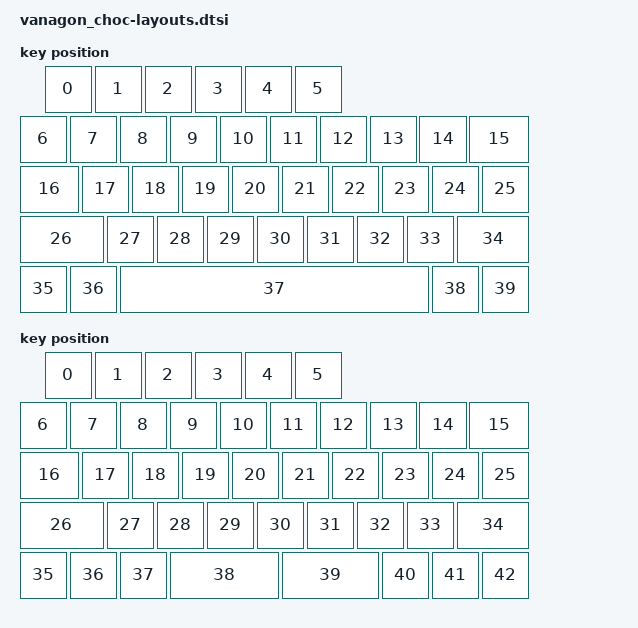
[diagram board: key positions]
#include <physical_layouts.dtsi>
// https://zmk-physical-layout-converter.streamlit.app/
// https://zmk-layout-helper.netlify.app/

/ {

    physical_layout0: physical_layout_0 {
        compatible = "zmk,physical-layout";
        display-name = "6.25u Spacebar";

        kscan = <&kscan0>;
        transform = <&matrix_transform0>;

        keys  //                     w   h    x    y     rot    rx    ry
            = <&key_physical_attrs 100 100   50    0       0     0     0>
            , <&key_physical_attrs 100 100  150    0       0     0     0>
            , <&key_physical_attrs 100 100  250    0       0     0     0>
            , <&key_physical_attrs 100 100  350    0       0     0     0>
            , <&key_physical_attrs 100 100  450    0       0     0     0>
            , <&key_physical_attrs 100 100  550    0       0     0     0>
            , <&key_physical_attrs 100 100    0  100       0     0     0>
            , <&key_physical_attrs 100 100  100  100       0     0     0>
            , <&key_physical_attrs 100 100  200  100       0     0     0>
            , <&key_physical_attrs 100 100  300  100       0     0     0>
            , <&key_physical_attrs 100 100  400  100       0     0     0>
            , <&key_physical_attrs 100 100  500  100       0     0     0>
            , <&key_physical_attrs 100 100  600  100       0     0     0>
            , <&key_physical_attrs 100 100  700  100       0     0     0>
            , <&key_physical_attrs 100 100  800  100       0     0     0>
            , <&key_physical_attrs 125 100  900  100       0     0     0>
            , <&key_physical_attrs 125 100    0  200       0     0     0>
            , <&key_physical_attrs 100 100  125  200       0     0     0>
            , <&key_physical_attrs 100 100  225  200       0     0     0>
            , <&key_physical_attrs 100 100  325  200       0     0     0>
            , <&key_physical_attrs 100 100  425  200       0     0     0>
            , <&key_physical_attrs 100 100  525  200       0     0     0>
            , <&key_physical_attrs 100 100  625  200       0     0     0>
            , <&key_physical_attrs 100 100  725  200       0     0     0>
            , <&key_physical_attrs 100 100  825  200       0     0     0>
            , <&key_physical_attrs 100 100  925  200       0     0     0>
            , <&key_physical_attrs 175 100    0  300       0     0     0>
            , <&key_physical_attrs 100 100  175  300       0     0     0>
            , <&key_physical_attrs 100 100  275  300       0     0     0>
            , <&key_physical_attrs 100 100  375  300       0     0     0>
            , <&key_physical_attrs 100 100  475  300       0     0     0>
            , <&key_physical_attrs 100 100  575  300       0     0     0>
            , <&key_physical_attrs 100 100  675  300       0     0     0>
            , <&key_physical_attrs 100 100  775  300       0     0     0>
            , <&key_physical_attrs 150 100  875  300       0     0     0>
            , <&key_physical_attrs 100 100    0  400       0     0     0>
            , <&key_physical_attrs 100 100  100  400       0     0     0>
            , <&key_physical_attrs 625 100  200  400       0     0     0>
            , <&key_physical_attrs 100 100  825  400       0     0     0>
            , <&key_physical_attrs 100 100  925  400       0     0     0>
            ;
    };

    physical_layout1: physical_layout_1 {
        compatible = "zmk,physical-layout";
        display-name = "Split Spacebar";

        kscan = <&kscan0>;
        transform = <&matrix_transform1>;

        keys  //                     w   h    x    y     rot    rx    ry
            = <&key_physical_attrs 100 100   50    0       0     0     0>
            , <&key_physical_attrs 100 100  150    0       0     0     0>
            , <&key_physical_attrs 100 100  250    0       0     0     0>
            , <&key_physical_attrs 100 100  350    0       0     0     0>
            , <&key_physical_attrs 100 100  450    0       0     0     0>
            , <&key_physical_attrs 100 100  550    0       0     0     0>
            , <&key_physical_attrs 100 100    0  100       0     0     0>
            , <&key_physical_attrs 100 100  100  100       0     0     0>
            , <&key_physical_attrs 100 100  200  100       0     0     0>
            , <&key_physical_attrs 100 100  300  100       0     0     0>
            , <&key_physical_attrs 100 100  400  100       0     0     0>
            , <&key_physical_attrs 100 100  500  100       0     0     0>
            , <&key_physical_attrs 100 100  600  100       0     0     0>
            , <&key_physical_attrs 100 100  700  100       0     0     0>
            , <&key_physical_attrs 100 100  800  100       0     0     0>
            , <&key_physical_attrs 125 100  900  100       0     0     0>
            , <&key_physical_attrs 125 100    0  200       0     0     0>
            , <&key_physical_attrs 100 100  125  200       0     0     0>
            , <&key_physical_attrs 100 100  225  200       0     0     0>
            , <&key_physical_attrs 100 100  325  200       0     0     0>
            , <&key_physical_attrs 100 100  425  200       0     0     0>
            , <&key_physical_attrs 100 100  525  200       0     0     0>
            , <&key_physical_attrs 100 100  625  200       0     0     0>
            , <&key_physical_attrs 100 100  725  200       0     0     0>
            , <&key_physical_attrs 100 100  825  200       0     0     0>
            , <&key_physical_attrs 100 100  925  200       0     0     0>
            , <&key_physical_attrs 175 100    0  300       0     0     0>
            , <&key_physical_attrs 100 100  175  300       0     0     0>
            , <&key_physical_attrs 100 100  275  300       0     0     0>
            , <&key_physical_attrs 100 100  375  300       0     0     0>
            , <&key_physical_attrs 100 100  475  300       0     0     0>
            , <&key_physical_attrs 100 100  575  300       0     0     0>
            , <&key_physical_attrs 100 100  675  300       0     0     0>
            , <&key_physical_attrs 100 100  775  300       0     0     0>
            , <&key_physical_attrs 150 100  875  300       0     0     0>
            , <&key_physical_attrs 100 100    0  400       0     0     0>
            , <&key_physical_attrs 100 100  100  400       0     0     0>
            , <&key_physical_attrs 100 100  200  400       0     0     0>
            , <&key_physical_attrs 225 100  300  400       0     0     0>
            , <&key_physical_attrs 200 100  525  400       0     0     0>
            , <&key_physical_attrs 100 100  725  400       0     0     0>
            , <&key_physical_attrs 100 100  825  400       0     0     0>
            , <&key_physical_attrs 100 100  925  400       0     0     0>
            ;
    };

    position_map {
        compatible = "zmk,physical-layout-position-map";
        complete;

        physical_layout0 {
            physical-layout = <&physical_layout0>;
            positions
                = < 0  1  2  3  4  5            >
                , < 6  7  8  9 10 11 12 13 14 15>
                , <16 17 18 19 20 21 22 23 24 25>
                , <26 27 28 29 30 31 32 33 34   >
                , <35 36 37 38 39 40 41 42      >
                ;
        };

        physical_layout1 {
            physical-layout = <&physical_layout1>;
            positions
                = < 0  1  2  3  4  5            >
                , < 6  7  8  9 10 11 12 13 14 15>
                , <16 17 18 19 20 21 22 23 24 25>
                , <26 27 28 29 30 31 32 33 34   >
                , <35 40 38 40 42 36 39 41      >
                ;
        };
    };

};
